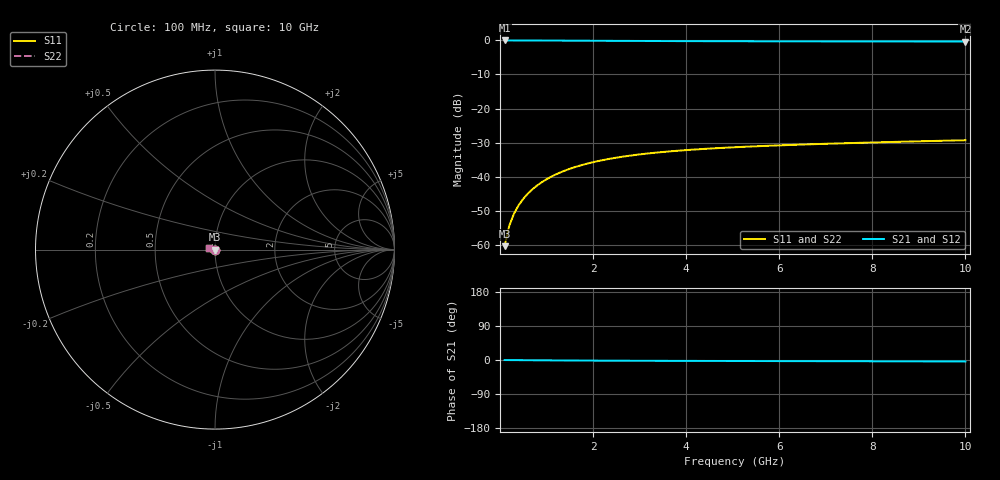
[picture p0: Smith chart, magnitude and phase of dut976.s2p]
! Touchstone file exported from HFSS 2024.1.0
!  File:  C:/UserFiles/LocalFiles/RDL_TSV_Batchsim/temp_TSV1_976_1779951642.aedt
!  Generated:  03:07:43 PM May 28, 2026
!  Design:  TSV1
!  Project:  temp_TSV1_976_1779951642
!  Setup:  Setup1
!  Solution:  Sweep
! Variables:
!  dtsv = 11.93um
!  hbump = 3um
!  htsv = 55.72um
!  lrdl = 252.1521522um
!  p = 40
!  p1 = 59.85um
!  t = 500um
!  trdl = 3um
!  wrdl = 24.89489489um
# GHz S MA R 50.000000
! Terminal data exported
! Port[1] = TSV22_T1
! Port[2] = TSV22_T2
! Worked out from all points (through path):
!   100 points, 100 MHz to 10 GHz, reference 50 ohm
!   highest |S21| = 0.00 dB at 100 MHz (marker M1); lowest = -0.3 dB at 10 GHz (marker M2)
!   lowest |S11| = -60.5 dB at 100 MHz (marker M3), VSWR 1.00, Z = 50 - j0.0948 ohm
!   |S11| at or under -10 dB: start of sweep to end of sweep
!   |S22| runs from -60.5 to -29.3 dB; largest |S21 - S12| = 3.1e-15
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0.1  0.0009494 -87.3  0.9999 -0.1  0.9999 -0.1  0.0009494 -87.3
! Gamma 0 0 0 0
! Port Impedance 50 0 50 0
0.2  0.001894 -91.6  0.9998 -0.2  0.9998 -0.2  0.001894 -91.6
0.3  0.002838 -94.5  0.9996 -0.3  0.9996 -0.3  0.002838 -94.5
0.4  0.003777 -97.0  0.9993 -0.4  0.9993 -0.4  0.003777 -97.0
0.5  0.004706 -99.3  0.999 -0.5  0.999 -0.5  0.004706 -99.3
0.6  0.005624 -101.6  0.9986 -0.6  0.9986 -0.6  0.005624 -101.6
0.7  0.006526 -103.8  0.9982 -0.7  0.9982 -0.7  0.006526 -103.8
0.8  0.007412 -105.9  0.9977 -0.8  0.9977 -0.8  0.007412 -105.9
0.9  0.008278 -108.0  0.9972 -0.8  0.9972 -0.8  0.008278 -108.0
1.1  0.009946 -112.0  0.996 -1.0  0.996 -1.0  0.009946 -112.0
1.4  0.01227 -117.8  0.994 -1.2  0.994 -1.2  0.01227 -117.8
1.6  0.0137 -121.4  0.9926 -1.4  0.9926 -1.4  0.0137 -121.4
1.8  0.01503 -124.9  0.9911 -1.5  0.9911 -1.5  0.01503 -124.9
2.1  0.01685 -129.8  0.9889 -1.7  0.9889 -1.7  0.01685 -129.8
2.5  0.01896 -135.8  0.9861 -1.9  0.9861 -1.9  0.01896 -135.8
2.9  0.02075 -141.3  0.9835 -2.0  0.9835 -2.0  0.02075 -141.3
3.4  0.02264 -147.4  0.9806 -2.2  0.9806 -2.2  0.02264 -147.4
4.2  0.02503 -155.8  0.9767 -2.4  0.9767 -2.4  0.02502 -155.8
5.1  0.02709 -163.7  0.9734 -2.7  0.9734 -2.7  0.02709 -163.8
6.7  0.02986 -175.2  0.9694 -3.1  0.9694 -3.1  0.02986 -175.2
8.4  0.03221 175.0  0.9666 -3.5  0.9666 -3.5  0.03221 175.0
10  0.03421 167.3  0.9649 -3.9  0.9649 -3.9  0.03421 167.3
